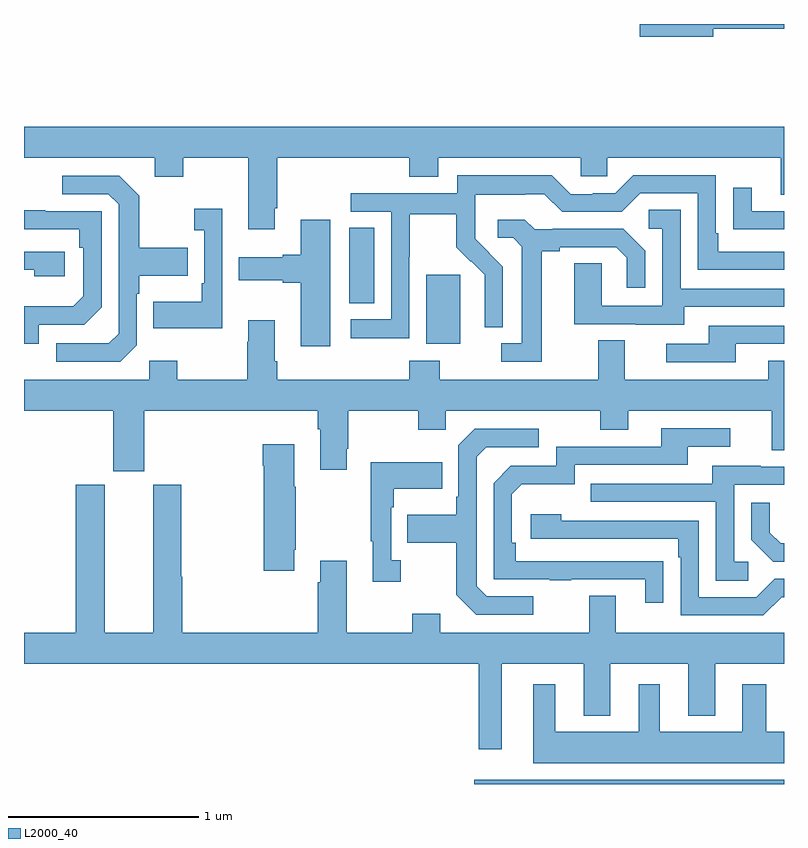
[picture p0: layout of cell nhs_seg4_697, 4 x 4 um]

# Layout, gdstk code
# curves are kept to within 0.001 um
import gdstk
lib = gdstk.Library(unit=1e-6, precision=1e-09)
def R(c, l, rs):  # rectangles x0, y0, x1, y1
    for r in rs: c.add(gdstk.rectangle(r[:2], r[2:], *l))
def P(c, l, *ps):  # polygons
    for p in ps: c.add(gdstk.Polygon(p, *l))
L2000_40 = (2000, 40)

nhs_seg4_697 = lib.new_cell('nhs_seg4_697')
R(nhs_seg4_697, L2000_40, [(149.37,750.9,151,750.922), (149.117,753.218,149.296,753.579), (148.712,753.43,148.843,753.827)])
P(nhs_seg4_697, L2000_40, [(150.628,754.876),(151,754.876),(151,754.9),(150.24,754.9),(150.24,754.834),(150.628,754.834)],
  [(148.321,753.931),(148.334,753.931),(148.334,754.196),(149.027,754.196),(149.027,754.097),(149.179,754.097),(149.179,754.196),(149.931,754.196),(149.931,754.098),(150.069,754.098),(150.069,754.196),(150.983,754.196),(150.983,754.002),(151,754.002),(151,754.36),(147,754.36),(147,754.196),(147.689,754.196),(147.689,754.097),(147.837,754.097),(147.837,754.196),(148.181,754.196),(148.181,753.819),(148.321,753.819)],
  [(148.932,753.912),(148.932,753.345),(148.719,753.345),(148.719,753.247),(149.028,753.247),(149.028,753.676),(149.031,753.676),(149.031,753.9),(149.275,753.9),(149.275,753.725),(149.352,753.648),(149.355,753.651),(149.426,753.581),(149.426,753.458),(149.424,753.458),(149.424,753.304),(149.52,753.304),(149.52,753.622),(149.374,753.77),(149.374,753.867),(149.376,753.867),(149.376,754.001),(149.639,754.001),(149.639,754.005),(149.739,754.005),(149.832,753.912),(150.147,753.912),(150.243,754.008),(150.546,754.008),(150.546,753.606),(151,753.606),(151,753.702),(150.655,753.702),(150.655,753.799),(150.642,753.799),(150.642,754.104),(150.207,754.104),(150.111,754.008),(149.993,754.008),(149.993,754.005),(149.877,754.005),(149.777,754.105),(149.28,754.105),(149.28,754.008),(148.719,754.008),(148.719,753.912)],
  [(147.594,753.21),(147.594,753.479),(147.607,753.479),(147.607,753.575),(147.863,753.575),(147.863,753.723),(147.607,753.723),(147.607,753.995),(147.501,754.101),(147.201,754.101),(147.201,754.005),(147.444,754.005),(147.498,753.951),(147.498,753.27),(147.447,753.219),(147.171,753.219),(147.171,753.123),(147.507,753.123)],
  [(151,753.915),(150.829,753.915),(150.829,754.039),(150.733,754.039),(150.733,753.82),(150.835,753.82),(150.835,753.819),(151,753.819)],
  [(148.044,753.928),(147.897,753.928),(147.897,753.815),(147.948,753.815),(147.948,753.535),(147.936,753.535),(147.936,753.439),(147.679,753.439),(147.679,753.299),(148.044,753.299)],
  [(150.475,753.411),(151,753.411),(151,753.507),(150.456,753.507),(150.456,753.923),(150.288,753.923),(150.288,753.822),(150.36,753.822),(150.36,753.417),(150.042,753.417),(150.042,753.641),(149.897,753.641),(149.897,753.321),(150.221,753.321),(150.221,753.317),(150.475,753.317)],
  [(147.078,753.318),(147.318,753.318),(147.408,753.408),(147.408,753.915),(147.113,753.915),(147.113,753.92),(147.001,753.92),(147,753.819),(147.292,753.819),(147.292,753.722),(147.312,753.722),(147.312,753.468),(147.259,753.415),(147,753.415),(147,753.216),(147.078,753.216)],
  [(149.725,753.704),(149.821,753.704),(149.821,753.726),(150.116,753.726),(150.173,753.669),(150.173,753.513),(150.27,753.513),(150.27,753.706),(150.154,753.822),(149.782,753.822),(149.782,753.819),(149.688,753.819),(149.636,753.871),(149.493,753.871),(149.493,753.774),(149.574,753.774),(149.621,753.727),(149.621,753.219),(149.511,753.219),(149.511,753.123),(149.725,753.123)],
  [(148.612,753.871),(148.457,753.871),(148.457,753.686),(148.361,753.686),(148.361,753.673),(148.131,753.673),(148.131,753.551),(148.361,753.551),(148.361,753.539),(148.457,753.539),(148.457,753.204),(148.612,753.204)],
  [(147.214,753.702),(147,753.702),(147,753.606),(147.053,753.606),(147.053,753.572),(147.214,753.572)],
  [(148.547,752.768),(148.559,752.768),(148.559,752.553),(148.699,752.553),(148.699,752.665),(148.707,752.665),(148.707,752.864),(149.074,752.864),(149.074,752.765),(149.22,752.765),(149.22,752.864),(150.034,752.864),(150.034,752.765),(150.181,752.765),(150.181,752.864),(150.935,752.864),(150.935,752.656),(151,752.656),(151,753.127),(150.917,753.127),(150.917,753.028),(150.163,753.028),(150.163,753.236),(150.023,753.236),(150.023,753.028),(149.187,753.028),(149.187,753.127),(149.027,753.127),(149.027,753.028),(148.334,753.028),(148.334,753.124),(148.321,753.124),(148.321,753.34),(148.181,753.34),(148.181,753.227),(148.174,753.227),(148.174,753.028),(147.807,753.028),(147.807,753.127),(147.66,753.127),(147.66,753.028),(147,753.028),(147,752.864),(147.47,752.864),(147.47,752.547),(147.634,752.547),(147.634,752.864),(148.547,752.864)],
  [(150.745,753.216),(151,753.216),(151,753.312),(150.605,753.312),(150.605,753.216),(150.381,753.216),(150.381,753.12),(150.745,753.12)],
  [(150.365,752.072),(149.588,752.073),(149.588,752.17),(149.568,752.17),(149.568,752.424),(149.621,752.477),(149.898,752.477),(149.898,752.58),(150.493,752.58),(150.493,752.676),(150.718,752.676),(150.718,752.772),(150.353,752.772),(150.353,752.676),(149.802,752.676),(149.802,752.574),(149.562,752.574),(149.472,752.484),(149.472,751.977),(149.767,751.977),(149.767,751.972),(149.879,751.972),(149.879,751.977),(150.269,751.977),(150.269,751.854),(150.365,751.854)],
  [(149.68,751.887),(149.436,751.887),(149.382,751.941),(149.382,752.622),(149.433,752.673),(149.71,752.673),(149.71,752.769),(149.373,752.769),(149.286,752.682),(149.286,752.413),(149.274,752.413),(149.274,752.317),(149.017,752.317),(149.017,752.17),(149.274,752.17),(149.274,751.897),(149.379,751.791),(149.68,751.791)],
  [(148.423,752.134),(148.431,752.134),(148.431,752.465),(148.423,752.465),(148.423,752.689),(148.256,752.689),(148.256,752.576),(148.261,752.576),(148.261,752.022),(148.423,752.022)],
  [(148.984,752.078),(148.932,752.078),(148.932,752.357),(148.945,752.357),(148.945,752.453),(149.201,752.453),(149.201,752.593),(148.824,752.593),(148.824,752.177),(148.835,752.177),(148.835,751.965),(148.984,751.965)],
  [(150.811,752.07),(150.738,752.07),(150.738,752.475),(151,752.475),(151,752.571),(150.877,752.571),(150.877,752.575),(150.623,752.575),(150.623,752.481),(149.983,752.481),(149.983,752.385),(150.642,752.385),(150.642,751.969),(150.811,751.969)],
  [(149.515,751.532),(149.945,751.532),(149.945,751.259),(150.085,751.259),(150.085,751.532),(150.497,751.532),(150.497,751.259),(150.637,751.259),(150.637,751.532),(151,751.532),(151,751.696),(150.115,751.696),(150.115,751.891),(149.975,751.891),(149.975,751.696),(149.191,751.696),(149.191,751.795),(149.044,751.795),(149.044,751.696),(148.699,751.696),(148.699,752.074),(148.559,752.074),(148.559,751.961),(148.547,751.961),(148.547,751.696),(147.833,751.696),(147.833,751.992),(147.828,751.992),(147.828,752.475),(147.68,752.475),(147.68,751.696),(147.424,751.696),(147.424,752.475),(147.272,752.475),(147.272,751.696),(147,751.696),(147,751.532),(149.394,751.532),(149.394,751.083),(149.515,751.083)],
  [(151,752.166),(150.982,752.166),(150.925,752.223),(150.925,752.38),(150.828,752.38),(150.828,752.186),(150.944,752.07),(151,752.07)],
  [(150.987,751.884),(151,751.884),(151,751.98),(150.951,751.98),(150.855,751.884),(150.552,751.884),(150.552,752.286),(149.828,752.286),(149.828,752.32),(149.667,752.32),(149.667,752.19),(150.443,752.19),(150.443,752.093),(150.456,752.093),(150.456,751.788),(150.891,751.788)],
  [(151,751.174),(150.907,751.174),(150.907,751.426),(150.779,751.426),(150.779,751.174),(150.346,751.174),(150.346,751.426),(150.236,751.426),(150.236,751.174),(149.797,751.174),(149.797,751.426),(149.681,751.426),(149.681,751.01),(151,751.01)])

lib.write_gds('nhs_seg4_697.gds')
